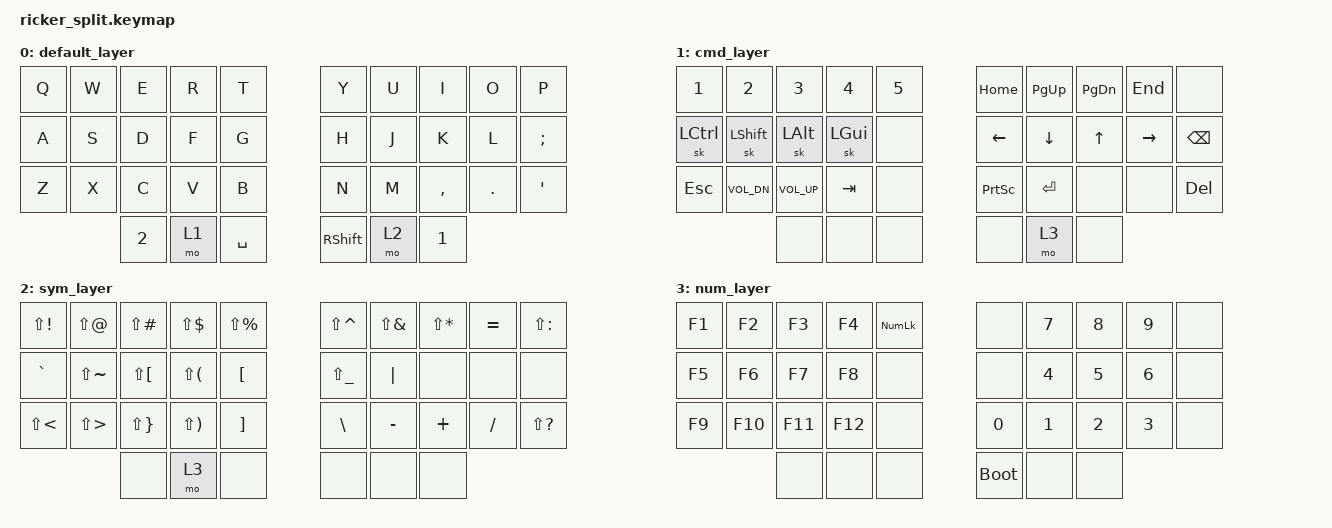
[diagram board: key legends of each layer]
#include <behaviors.dtsi>
#include <dt-bindings/zmk/keys.h>

/ {
    keymap {
        compatible = "zmk,keymap";

        default_layer {
            bindings = <
&kp Q  &kp W         &kp E  &kp R      &kp T      &kp Y  &kp U         &kp I    &kp O     &kp P
&kp A  &kp S         &kp D  &kp F      &kp G      &kp H  &kp J         &kp K    &kp L  &kp SEMI
&kp Z  &kp X         &kp C  &kp V      &kp B      &kp N  &kp M     &kp COMMA  &kp DOT   &kp SQT
              &kp NUMBER_2  &mo 1  &kp SPACE  &kp RSHFT  &mo 2  &kp NUMBER_1
            >;
        };

        cmd_layer {
            bindings = <
   &kp N1        &kp N2        &kp N3    &kp N4  &kp N5         &kp HOME  &kp PG_UP  &kp PG_DN    &kp END     &none
&sk LCTRL     &sk LSHFT      &sk LALT  &sk LGUI   &none         &kp LEFT   &kp DOWN     &kp UP  &kp RIGHT  &kp BSPC
  &kp ESC  &kp C_VOL_DN  &kp C_VOL_UP   &kp TAB   &none  &kp PRINTSCREEN    &kp RET      &none      &none   &kp DEL
                                &none     &none   &none            &none      &mo 3      &none
            >;
        };

        sym_layer {
            bindings = <
&kp LS(EXCL)     &kp LS(AT)  &kp LS(POUND)  &kp LS(DLLR)      &kp LS(PRCNT)  &kp LS(CARET)  &kp LS(AMPS)  &kp LS(STAR)  &kp EQUAL  &kp LS(COLON)
   &kp GRAVE  &kp LS(TILDE)   &kp LS(LBKT)  &kp LS(LPAR)           &kp LBKT  &kp LS(UNDER)      &kp PIPE         &none      &none          &none
  &kp LS(LT)     &kp LS(GT)   &kp LS(RBRC)  &kp LS(RPAR)  &kp RIGHT_BRACKET       &kp BSLH     &kp MINUS      &kp PLUS   &kp FSLH  &kp LS(QMARK)
                                     &none         &mo 3              &none          &none         &none         &none
            >;
        };

        num_layer {
            bindings = <
&kp F1   &kp F2   &kp F3   &kp F4  &kp KP_NUMLOCK        &none  &kp N7  &kp N8  &kp N9  &none
&kp F5   &kp F6   &kp F7   &kp F8           &none        &none  &kp N4  &kp N5  &kp N6  &none
&kp F9  &kp F10  &kp F11  &kp F12           &none       &kp N0  &kp N1  &kp N2  &kp N3  &none
                   &none    &none           &none  &bootloader   &none   &none
            >;
        };
    };
};
